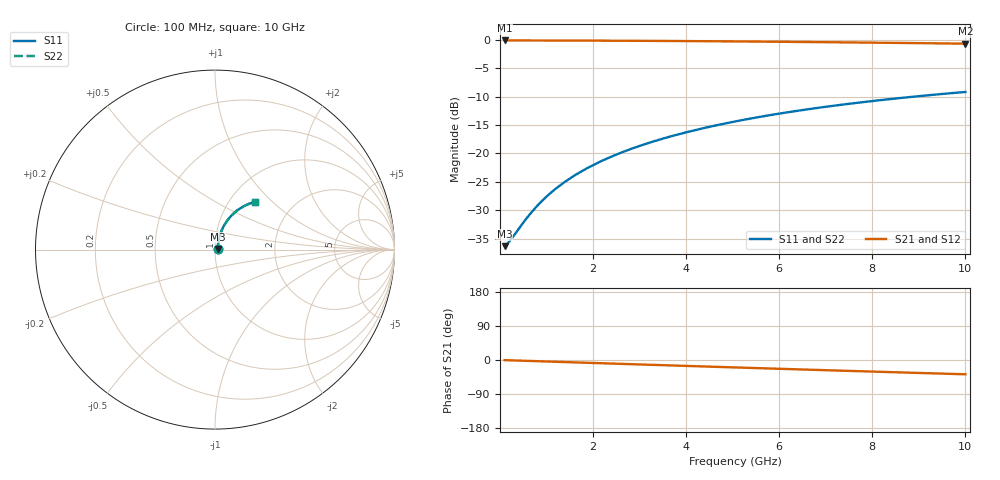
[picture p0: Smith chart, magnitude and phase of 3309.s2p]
# Hz S RI R 50.00
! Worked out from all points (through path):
!   100 points, 100 MHz to 10 GHz, reference 50 ohm
!   highest |S21| = -0.13 dB at 100 MHz (marker M1); lowest = -0.7 dB at 10 GHz (marker M2)
!   group delay of S21, straight-line fit = 10.5 ps
!   lowest |S11| = -36.3 dB at 100 MHz (marker M3), VSWR 1.03, Z = 51.5 + j0.391 ohm
!   |S11| at or under -10 dB: start of sweep to 8.907 GHz
!   |S22| runs from -36.3 to -9.2 dB; largest |S21 - S12| = 0
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1e8  0.0148 0.00379  0.9852 -0.00675  0.9852 -0.00675  0.0148 0.00379
2e8  0.015 0.00758  0.985 -0.0135  0.985 -0.0135  0.015 0.00758
6e8  0.0161 0.0227  0.9838 -0.0405  0.9838 -0.0405  0.0161 0.0227
7e8  0.0164 0.0265  0.9833 -0.0472  0.9833 -0.0472  0.0164 0.0265
9e8  0.0173 0.034  0.9823 -0.0606  0.9823 -0.0606  0.0173 0.034
1.1e9  0.0184 0.0415  0.981 -0.074  0.981 -0.074  0.0184 0.0415
1.3e9  0.0197 0.0489  0.9795 -0.0874  0.9795 -0.0874  0.0197 0.0489
1.5e9  0.0212 0.0563  0.9778 -0.1007  0.9778 -0.1007  0.0212 0.0563
1.8e9  0.0238 0.0673  0.9747 -0.1206  0.9747 -0.1206  0.0238 0.0673
2.1e9  0.0269 0.0782  0.9711 -0.1404  0.9711 -0.1404  0.0269 0.0782
2.5e9  0.0316 0.0925  0.9656 -0.1665  0.9656 -0.1665  0.0316 0.0925
2.9e9  0.0371 0.1064  0.9591 -0.1923  0.9591 -0.1923  0.0371 0.1064
3.4e9  0.0449 0.1234  0.9499 -0.2241  0.9499 -0.2241  0.0449 0.1234
3.8e9  0.052 0.1364  0.9415 -0.2491  0.9415 -0.2491  0.052 0.1364
4.2e9  0.0598 0.1491  0.9323 -0.2736  0.9323 -0.2736  0.0598 0.1491
4.6e9  0.0681 0.1612  0.9223 -0.2977  0.9223 -0.2977  0.0681 0.1612
5.1e9  0.0794 0.1757  0.9089 -0.327  0.9089 -0.327  0.0794 0.1757
5.9e9  0.0992 0.1969  0.885 -0.3722  0.885 -0.3722  0.0992 0.1969
6.7e9  0.1209 0.2158  0.8587 -0.415  0.8587 -0.415  0.1209 0.2158
7.5e9  0.1442 0.2321  0.8302 -0.4553  0.8302 -0.4553  0.1442 0.2321
8.4e9  0.1718 0.2473  0.796 -0.4976  0.796 -0.4976  0.1718 0.2473
1e10  0.2232 0.266  0.7306 -0.5645  0.7306 -0.5645  0.2232 0.266
